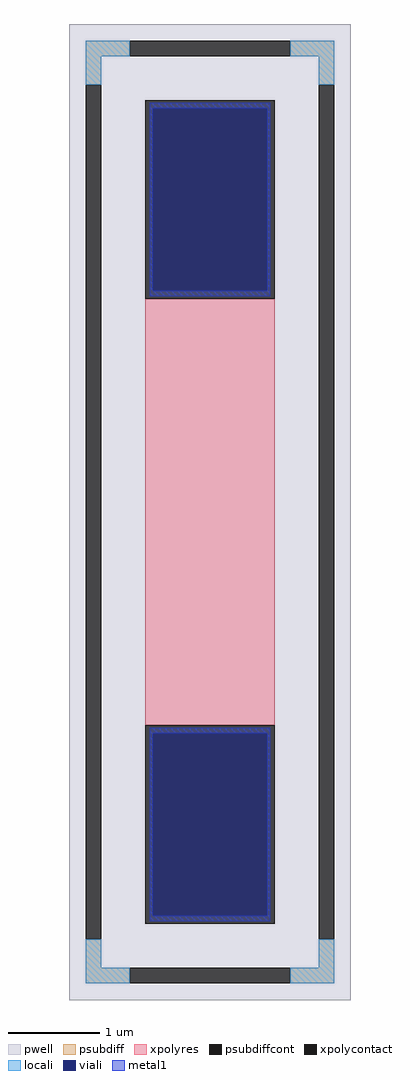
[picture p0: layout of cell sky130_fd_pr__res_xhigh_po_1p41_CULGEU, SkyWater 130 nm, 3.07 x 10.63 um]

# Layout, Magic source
magic
tech sky130A
magscale 1 2
<< pwell >>
rect -307 -1063 307 1063
<< psubdiff >>
rect -271 993 -175 1027
rect 175 993 271 1027
rect -271 931 -237 993
rect 237 931 271 993
rect -271 -993 -237 -931
rect 237 -993 271 -931
rect -271 -1027 -175 -993
rect 175 -1027 271 -993
<< psubdiffcont >>
rect -175 993 175 1027
rect -271 -931 -237 931
rect 237 -931 271 931
rect -175 -1027 175 -993
<< xpolycontact >>
rect -141 465 141 897
rect -141 -897 141 -465
<< xpolyres >>
rect -141 -465 141 465
<< locali >>
rect -271 993 -175 1027
rect 175 993 271 1027
rect -271 931 -237 993
rect 237 931 271 993
rect -271 -993 -237 -931
rect 237 -993 271 -931
rect -271 -1027 -175 -993
rect 175 -1027 271 -993
<< viali >>
rect -125 482 125 879
rect -125 -879 125 -482
<< metal1 >>
rect -131 879 131 891
rect -131 482 -125 879
rect 125 482 131 879
rect -131 470 131 482
rect -131 -482 131 -470
rect -131 -879 -125 -482
rect 125 -879 131 -482
rect -131 -891 131 -879
<< properties >>
string FIXED_BBOX -254 -1010 254 1010
string gencell sky130_fd_pr__res_xhigh_po_1p41
string library sky130
string parameters w 1.410 l 4.808 m 1 nx 1 wmin 1.410 lmin 0.50 rho 2000 val 7.086k dummy 0 dw 0.0 term 188.2 sterm 0.0 caplen 0 wmax 1.410 guard 1 glc 1 grc 1 gtc 1 gbc 1 compatible {sky130_fd_pr__res_xhigh_po_0p35  sky130_fd_pr__res_xhigh_po_0p69 sky130_fd_pr__res_xhigh_po_1p41  sky130_fd_pr__res_xhigh_po_2p85 sky130_fd_pr__res_xhigh_po_5p73} snake 0 full_metal 1 n_guard 0 hv_guard 0 vias 1 viagb 0 viagt 0 viagl 0 viagr 0
<< end >>
